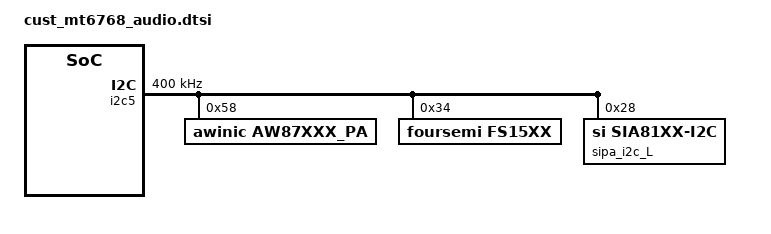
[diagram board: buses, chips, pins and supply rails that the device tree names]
/* Copyright (c) 2018, The Linux Foundation. All rights reserved.
 *
 * This program is free software; you can redistribute it and/or modify
 * it under the terms of the GNU General Public License version 2 and
 * only version 2 as published by the Free Software Foundation.
 *
 * This program is distributed in the hope that it will be useful,
 * but WITHOUT ANY WARRANTY; without even the implied warranty of
 * MERCHANTABILITY or FITNESS FOR A PARTICULAR PURPOSE.  See the
 * GNU General Public License for more details.
 */

&odm {
	si_pa_L: si_pa_L{
		compatible = "si,sia81xx";
		si,si_pa_type = "sia8152x";
		si,si_pa_disable_pin = <1>;
		channel_num = <0>;
	};
};

&i2c5 {
	clock-frequency = <400000>;
	aw87xxx_pa@58 {
		compatible = "awinic,aw87xxx_pa";
		reg = <0x58>;
		dev_index = < 0 >;
		status = "okay";
	};
	fs15xx@34 {
		compatible = "foursemi,fs15xx";
		reg = <0x34>;
		status = "okay";
	};
	sipa_i2c_L: sipa_i2c_L@28{
		compatible = "si,sia81xx-i2c";
		reg = <0x28>;
		si,sipa-dev = <&si_pa_L>;
	};
};

&sound {
	si,sia81xx-max-num = <1>;
	si,sia81xx-aux-devs = <&si_pa_L>;
	si,sia81xx-aux-devs-prefix = "SpkrMonoL";
};
